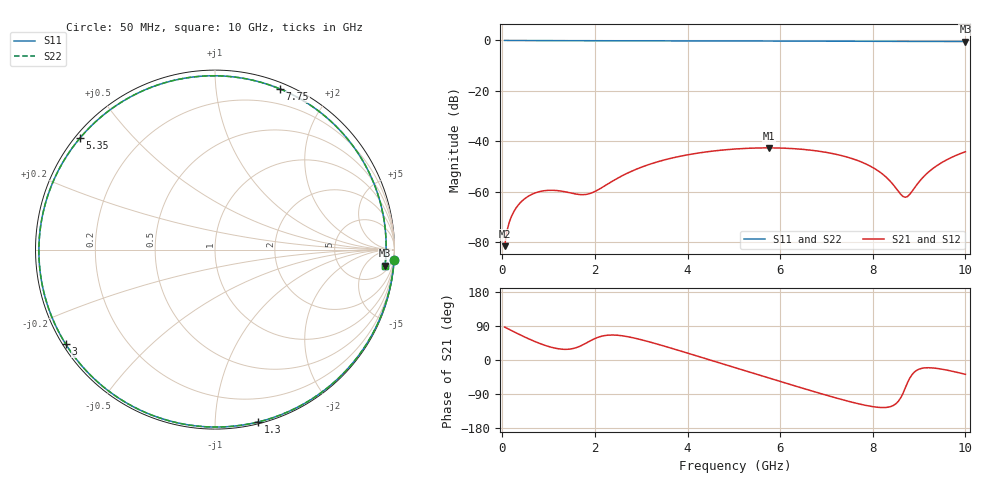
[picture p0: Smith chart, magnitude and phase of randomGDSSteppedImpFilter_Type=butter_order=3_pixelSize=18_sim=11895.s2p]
! freq	dB(S11)	phase(S11)	dB(S12)	phase(S12)
!  dB(S21)	phase(S21)	dB(S22)	phase(S22)
!S-par simulation data
#  GHz  S  DB  R 50
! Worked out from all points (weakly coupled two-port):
!   200 points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, 50 MHz to 10 GHz, reference 50 ohm
!   highest |S21| = -42.61 dB at 5.75 GHz (marker M1); lowest = -81.6 dB at 50 MHz (marker M2)
!   lowest |S11| = -0.4 dB at 10 GHz (marker M3), VSWR 40.22, Z = 440 - j830 ohm
!   |S11| at or under -10 dB: nowhere
!   |S22| runs from -0.4 to 0.0 dB; largest |S21 - S12| = 0
!   S11 on the Smith chart (normalised r, x): 50 MHz: 0, -36; 1.3 GHz: 0.01, -1.28; 3 GHz: 0.01, -0.29; 5.35 GHz: 0.01, +0.36; 7.75 GHz: 0.06, +1.48; 10 GHz: 9, -17
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0.05  -0.00 -3.2  -81.60 86.9  -81.60 86.9  -0.00 -3.2
0.15  -0.01 -9.5  -72.13 80.7  -72.13 80.7  -0.01 -9.4
0.2  -0.02 -12.6  -69.70 77.6  -69.70 77.6  -0.02 -12.6
0.45  -0.04 -27.9  -63.28 62.6  -63.28 62.6  -0.04 -27.9
0.85  -0.06 -51.6  -59.77 41.7  -59.77 41.7  -0.06 -51.5
1.3  -0.09 -76.0  -59.83 28.4  -59.83 28.4  -0.09 -76.0
1.75  -0.10 -98.0  -61.16 40.7  -61.16 40.7  -0.10 -97.9
2  -0.11 -109.1  -59.91 56.6  -59.91 56.6  -0.11 -109.0
2.4  -0.12 -125.5  -55.59 65.9  -55.59 65.9  -0.12 -125.5
3  -0.14 -147.7  -50.30 53.5  -50.30 53.5  -0.14 -147.6
3.4  -0.15 -161.1  -47.88 40.1  -47.88 40.1  -0.15 -161.1
4.2  -0.17 174.0  -44.75 10.8  -44.75 10.8  -0.17 174.0
5.05  -0.20 149.0  -43.03 -21.1  -43.03 -21.1  -0.20 149.0
5.35  -0.21 140.3  -42.74 -32.3  -42.74 -32.3  -0.21 140.3
5.75  -0.23 128.7  -42.61 -47.3  -42.61 -47.3  -0.23 128.7
6.7  -0.27 100.5  -43.60 -82.3  -43.60 -82.3  -0.27 100.6
7.75  -0.30 68.0  -48.17 -117.2  -48.17 -117.2  -0.30 68.0
8.35  -0.33 48.7  -55.33 -124.1  -55.33 -124.1  -0.33 48.7
8.65  -0.34 38.9  -61.86 -88.7  -61.86 -88.7  -0.34 39.0
8.75  -0.34 35.6  -61.92 -60.0  -61.92 -60.0  -0.34 35.7
9.3  -0.37 17.5  -50.76 -21.0  -50.76 -21.0  -0.37 17.6
10  -0.43 -5.4  -44.13 -37.8  -44.13 -37.8  -0.43 -5.4
